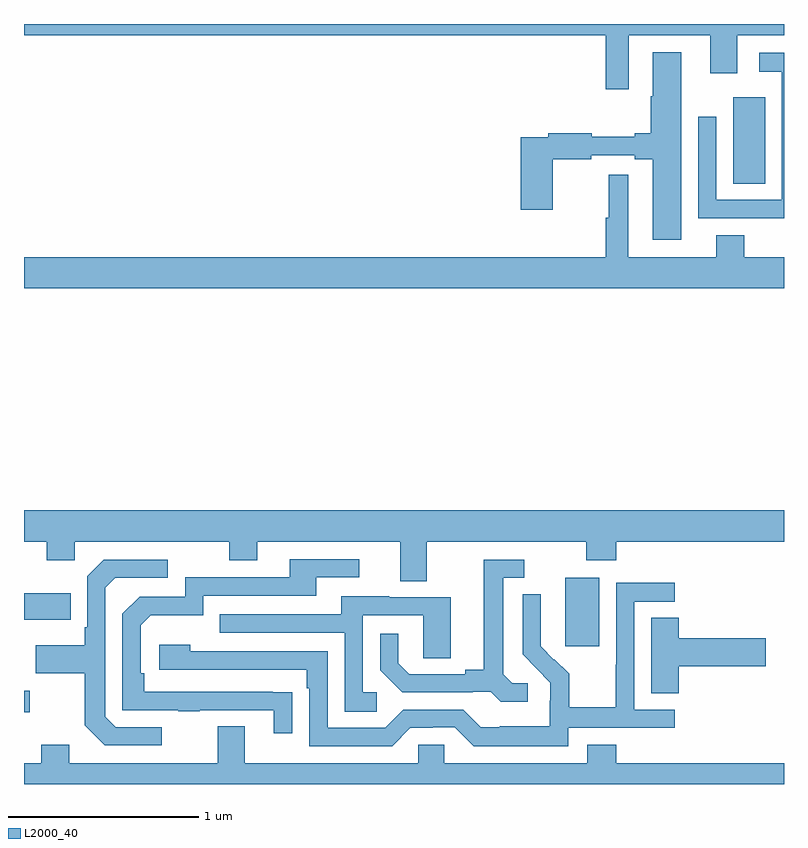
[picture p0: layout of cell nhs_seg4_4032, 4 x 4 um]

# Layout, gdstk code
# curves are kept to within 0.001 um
import gdstk
lib = gdstk.Library(unit=1e-6, precision=1e-09)
def R(c, l, rs):  # rectangles x0, y0, x1, y1
    for r in rs: c.add(gdstk.rectangle(r[:2], r[2:], *l))
def P(c, l, *ps):  # polygons
    for p in ps: c.add(gdstk.Polygon(p, *l))
L2000_40 = (2000, 40)

nhs_seg4_4032 = lib.new_cell('nhs_seg4_4032')
R(nhs_seg4_4032, L2000_40, [(325,773.277,325.03,773.39), (327.848,773.625,328.027,773.986), (325,773.765,325.247,773.905), (328.733,776.059,328.9,776.515)])
P(nhs_seg4_4032, L2000_40, [(328.183,776.84),(328.613,776.84),(328.613,776.64),(328.753,776.64),(328.753,776.84),(329,776.84),(329,776.9),(325,776.9),(325,776.84),(328.062,776.84),(328.062,776.556),(328.183,776.556)],
  [(328.459,776.752),(328.31,776.752),(328.31,776.52),(328.298,776.52),(328.298,776.324),(328.214,776.324),(328.214,776.307),(327.987,776.307),(327.987,776.324),(327.76,776.324),(327.76,776.304),(327.614,776.304),(327.614,775.923),(327.784,775.923),(327.784,776.188),(327.986,776.188),(327.986,776.208),(328.214,776.208),(328.214,776.188),(328.31,776.188),(328.31,775.764),(328.459,775.764)],
  [(329,776.749),(328.869,776.749),(328.869,776.648),(328.989,776.648),(328.989,775.974),(328.644,775.974),(328.644,776.413),(328.548,776.413),(328.548,775.878),(328.892,775.878),(328.892,775.877),(329,775.877)],
  [(329,775.672),(328.791,775.672),(328.791,775.789),(328.643,775.789),(328.643,775.672),(328.18,775.672),(328.18,776.107),(328.078,776.107),(328.078,775.881),(328.063,775.881),(328.063,775.672),(325,775.672),(325,775.508),(329,775.508)],
  [(327.121,774.176),(327.958,774.176),(327.958,774.077),(328.118,774.077),(328.118,774.176),(329,774.176),(329,774.34),(325,774.34),(325,774.176),(325.12,774.176),(325.12,774.077),(325.266,774.077),(325.266,774.176),(326.08,774.176),(326.08,774.077),(326.227,774.077),(326.227,774.176),(326.981,774.176),(326.981,773.968),(327.121,773.968)],
  [(326.411,773.384),(325.634,773.385),(325.634,773.482),(325.614,773.482),(325.614,773.736),(325.667,773.789),(325.944,773.789),(325.944,773.892),(326.539,773.892),(326.539,773.988),(326.764,773.988),(326.764,774.084),(326.399,774.084),(326.399,773.988),(325.848,773.988),(325.848,773.886),(325.608,773.886),(325.518,773.796),(325.518,773.289),(325.813,773.289),(325.813,773.284),(325.925,773.284),(325.925,773.289),(326.315,773.289),(326.315,773.166),(326.411,773.166)],
  [(327.652,773.43),(327.57,773.43),(327.523,773.477),(327.523,773.985),(327.634,773.985),(327.634,774.081),(327.419,774.081),(327.419,773.501),(327.323,773.501),(327.323,773.478),(327.028,773.478),(326.971,773.535),(326.971,773.692),(326.874,773.692),(326.874,773.498),(326.99,773.382),(327.362,773.382),(327.362,773.385),(327.456,773.385),(327.508,773.333),(327.652,773.333)],
  [(325.726,773.199),(325.482,773.199),(325.428,773.253),(325.428,773.934),(325.479,773.985),(325.756,773.985),(325.756,774.081),(325.419,774.081),(325.332,773.994),(325.332,773.725),(325.32,773.725),(325.32,773.629),(325.063,773.629),(325.063,773.482),(325.32,773.482),(325.32,773.209),(325.425,773.103),(325.726,773.103)],
  [(327.864,773.196),(328.426,773.196),(328.426,773.292),(328.212,773.292),(328.212,773.859),(328.426,773.859),(328.426,773.958),(328.116,773.958),(328.116,773.528),(328.114,773.528),(328.114,773.305),(327.869,773.305),(327.869,773.479),(327.792,773.556),(327.789,773.553),(327.719,773.624),(327.72,773.9),(327.624,773.9),(327.624,773.582),(327.77,773.434),(327.77,773.337),(327.768,773.337),(327.768,773.203),(327.505,773.203),(327.505,773.199),(327.405,773.199),(327.312,773.292),(326.997,773.292),(326.901,773.196),(326.598,773.196),(326.598,773.598),(325.874,773.598),(325.874,773.632),(325.713,773.632),(325.713,773.502),(326.489,773.502),(326.489,773.405),(326.502,773.405),(326.502,773.1),(326.937,773.1),(327.033,773.196),(327.152,773.196),(327.152,773.199),(327.267,773.199),(327.367,773.099),(327.864,773.099)],
  [(326.857,773.382),(326.784,773.382),(326.784,773.787),(327.102,773.787),(327.102,773.563),(327.247,773.563),(327.247,773.883),(326.923,773.883),(326.923,773.887),(326.669,773.887),(326.669,773.793),(326.029,773.793),(326.029,773.697),(326.688,773.697),(326.688,773.281),(326.857,773.281)],
  [(328.445,773.519),(328.903,773.519),(328.903,773.666),(328.445,773.666),(328.445,773.774),(328.301,773.774),(328.301,773.377),(328.445,773.377)],
  [(327.213,773.106),(327.075,773.106),(327.075,773.008),(326.161,773.008),(326.161,773.203),(326.021,773.203),(326.021,773.008),(325.237,773.008),(325.237,773.107),(325.09,773.107),(325.09,773.008),(325,773.008),(325,772.9),(329,772.9),(329,773.008),(328.118,773.008),(328.118,773.107),(327.965,773.107),(327.965,773.008),(327.213,773.008)])

lib.write_gds('nhs_seg4_4032.gds')
